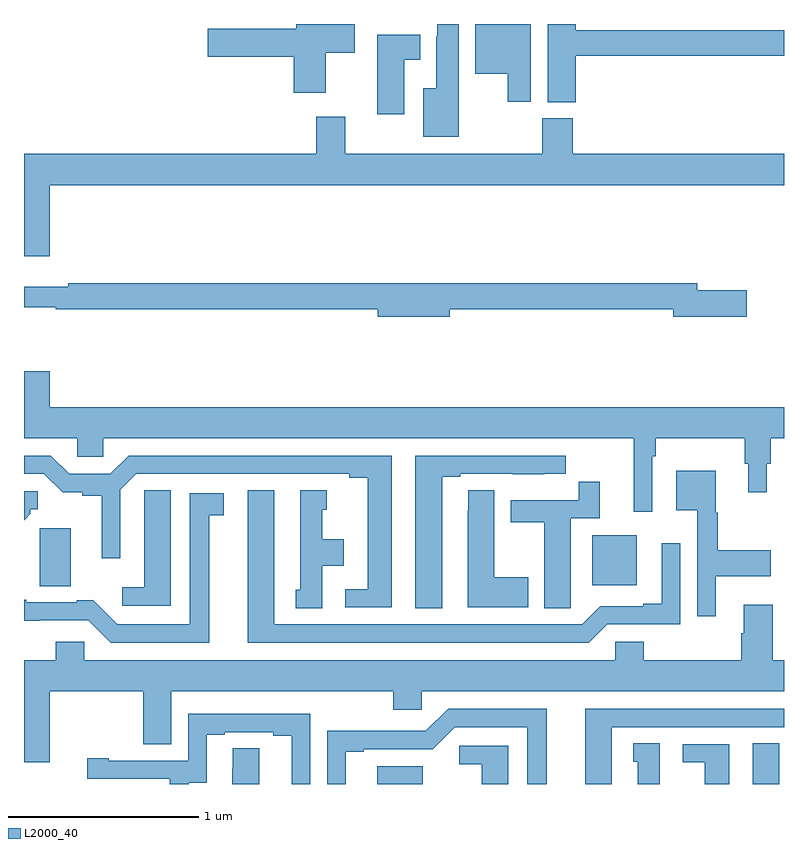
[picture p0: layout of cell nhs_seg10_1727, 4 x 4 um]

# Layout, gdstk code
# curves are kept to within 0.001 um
import gdstk
lib = gdstk.Library(unit=1e-6, precision=1e-09)
def R(c, l, rs):  # rectangles x0, y0, x1, y1
    for r in rs: c.add(gdstk.rectangle(r[:2], r[2:], *l))
def P(c, l, *ps):  # polygons
    for p in ps: c.add(gdstk.Polygon(p, *l))
L2000_40 = (2000, 40)

nhs_seg10_1727 = lib.new_cell('nhs_seg10_1727')
R(nhs_seg10_1727, L2000_40, [(202.859,1294.5,203.098,1294.594), (204.836,1294.5,204.976,1294.715), (203.99,1295.546,204.226,1295.809)])
P(nhs_seg10_1727, L2000_40, [(202.588,1298.35),(202.741,1298.35),(202.741,1298.5),(202.433,1298.5),(202.433,1298.474),(201.966,1298.474),(201.966,1298.327),(202.421,1298.327),(202.421,1298.139),(202.588,1298.139)],
  [(203.668,1298.5),(203.375,1298.5),(203.375,1298.237),(203.546,1298.237),(203.546,1298.091),(203.668,1298.091)],
  [(203.903,1298.332),(205,1298.332),(205,1298.468),(203.903,1298.468),(203.903,1298.5),(203.756,1298.5),(203.756,1298.089),(203.903,1298.089)],
  [(203.287,1298.5),(203.175,1298.5),(203.175,1298.435),(203.171,1298.435),(203.171,1298.161),(203.102,1298.161),(203.102,1297.907),(203.287,1297.907)],
  [(203.002,1298.312),(203.086,1298.312),(203.086,1298.443),(202.859,1298.443),(202.859,1298.025),(203.002,1298.025)],
  [(201.136,1297.652),(205,1297.652),(205,1297.816),(203.888,1297.816),(203.888,1298.004),(203.728,1298.004),(203.728,1297.816),(202.69,1297.816),(202.69,1298.011),(202.538,1298.011),(202.538,1297.816),(201,1297.816),(201,1297.278),(201.136,1297.278)],
  [(203.242,1297),(204.416,1297),(204.416,1296.958),(204.805,1296.958),(204.805,1297.1),(204.544,1297.1),(204.544,1297.136),(201.232,1297.136),(201.232,1297.117),(201,1297.117),(201,1297.008),(201.166,1297.008),(201.166,1297),(202.862,1297),(202.862,1296.958),(203.242,1296.958)],
  [(204.306,1296.224),(204.326,1296.224),(204.326,1296.32),(204.793,1296.32),(204.793,1296.186),(204.812,1296.186),(204.812,1296.036),(204.91,1296.036),(204.91,1296.186),(204.929,1296.186),(204.929,1296.32),(205,1296.32),(205,1296.484),(201.136,1296.484),(201.136,1296.673),(201,1296.673),(201,1296.32),(201.279,1296.32),(201.279,1296.222),(201.417,1296.222),(201.417,1296.32),(204.209,1296.32),(204.209,1295.934),(204.306,1295.934)],
  [(202.936,1296.228),(201.551,1296.228),(201.455,1296.132),(201.237,1296.132),(201.141,1296.228),(201,1296.228),(201,1296.132),(201.105,1296.132),(201.203,1296.035),(201.306,1296.035),(201.306,1296.016),(201.41,1296.016),(201.41,1295.688),(201.507,1295.688),(201.507,1296.048),(201.591,1296.132),(202.712,1296.132),(202.712,1296.112),(202.808,1296.112),(202.808,1295.526),(202.692,1295.526),(202.692,1295.43),(202.936,1295.43)],
  [(203.2,1296.117),(203.296,1296.117),(203.296,1296.132),(203.572,1296.132),(203.572,1296.131),(203.738,1296.131),(203.738,1296.132),(203.851,1296.132),(203.851,1296.228),(203.06,1296.228),(203.06,1295.425),(203.2,1295.425)],
  [(204.64,1295.594),(204.931,1295.594),(204.931,1295.729),(204.652,1295.729),(204.652,1295.928),(204.64,1295.928),(204.64,1296.148),(204.434,1296.148),(204.434,1295.942),(204.543,1295.942),(204.543,1295.382),(204.64,1295.382)],
  [(203.877,1295.536),(203.878,1295.536),(203.878,1295.898),(204.029,1295.898),(204.029,1296.091),(203.92,1296.091),(203.92,1295.994),(203.561,1295.994),(203.561,1295.878),(203.738,1295.878),(203.738,1295.425),(203.877,1295.425)],
  [(203.653,1295.589),(203.476,1295.589),(203.476,1296.047),(203.337,1296.047),(203.337,1295.939),(203.336,1295.939),(203.336,1295.429),(203.653,1295.429)],
  [(201.772,1296.047),(201.633,1296.047),(201.633,1295.939),(201.632,1295.939),(201.632,1295.536),(201.516,1295.536),(201.516,1295.439),(201.772,1295.439)],
  [(202.57,1295.648),(202.684,1295.648),(202.684,1295.788),(202.57,1295.788),(202.57,1295.943),(202.594,1295.943),(202.594,1296.046),(202.454,1296.046),(202.454,1295.523),(202.43,1295.523),(202.43,1295.425),(202.57,1295.425)],
  [(204.069,1295.34),(204.453,1295.34),(204.453,1295.767),(204.356,1295.767),(204.356,1295.449),(204.26,1295.449),(204.26,1295.436),(204.033,1295.436),(203.937,1295.34),(202.318,1295.34),(202.318,1296.046),(202.178,1296.046),(202.178,1295.244),(203.973,1295.244)],
  [(201.034,1295.923),(201.034,1295.946),(201.073,1295.946),(201.073,1296.042),(201,1296.042),(201,1295.889)],
  [(201.976,1295.914),(202.051,1295.914),(202.051,1296.03),(201.872,1296.03),(201.872,1295.34),(201.492,1295.34),(201.364,1295.468),(201.278,1295.468),(201.278,1295.457),(201.013,1295.457),(201.013,1295.47),(201,1295.47),(201,1295.36),(201.339,1295.361),(201.456,1295.244),(201.976,1295.244)],
  [(201.246,1295.7),(201.247,1295.7),(201.247,1295.845),(201.083,1295.845),(201.083,1295.542),(201.246,1295.542)],
  [(201.136,1294.988),(201.628,1294.988),(201.628,1294.708),(201.775,1294.708),(201.775,1294.988),(202.943,1294.988),(202.943,1294.89),(203.094,1294.89),(203.094,1294.988),(205,1294.988),(205,1295.152),(204.941,1295.152),(204.941,1295.443),(204.788,1295.443),(204.788,1295.294),(204.776,1295.294),(204.776,1295.152),(204.263,1295.152),(204.263,1295.25),(204.111,1295.25),(204.111,1295.152),(201.318,1295.152),(201.318,1295.25),(201.167,1295.25),(201.167,1295.152),(201,1295.152),(201,1294.614),(201.136,1294.614)],
  [(202.693,1294.671),(202.789,1294.671),(202.789,1294.683),(203.151,1294.683),(203.268,1294.8),(203.648,1294.8),(203.648,1294.5),(203.752,1294.5),(203.752,1294.896),(203.232,1294.896),(203.115,1294.779),(202.859,1294.779),(202.859,1294.781),(202.596,1294.781),(202.596,1294.5),(202.693,1294.5)],
  [(204.094,1294.8),(205,1294.8),(205,1294.896),(203.954,1294.896),(203.954,1294.5),(204.094,1294.5)],
  [(201.867,1294.507),(201.961,1294.507),(201.961,1294.758),(202.057,1294.758),(202.057,1294.773),(202.313,1294.773),(202.313,1294.753),(202.409,1294.753),(202.409,1294.5),(202.506,1294.5),(202.506,1294.869),(201.864,1294.869),(201.864,1294.623),(201.445,1294.623),(201.445,1294.636),(201.333,1294.636),(201.333,1294.527),(201.768,1294.527),(201.768,1294.5),(201.867,1294.5)],
  [(204.346,1294.715),(204.206,1294.715),(204.206,1294.617),(204.23,1294.617),(204.23,1294.5),(204.346,1294.5)],
  [(204.712,1294.71),(204.468,1294.71),(204.468,1294.614),(204.584,1294.614),(204.584,1294.5),(204.712,1294.5)],
  [(203.548,1294.701),(203.292,1294.701),(203.292,1294.604),(203.408,1294.604),(203.408,1294.5),(203.548,1294.5)],
  [(202.237,1294.688),(202.098,1294.688),(202.098,1294.58),(202.097,1294.58),(202.097,1294.5),(202.237,1294.5)])

lib.write_gds('nhs_seg10_1727.gds')
